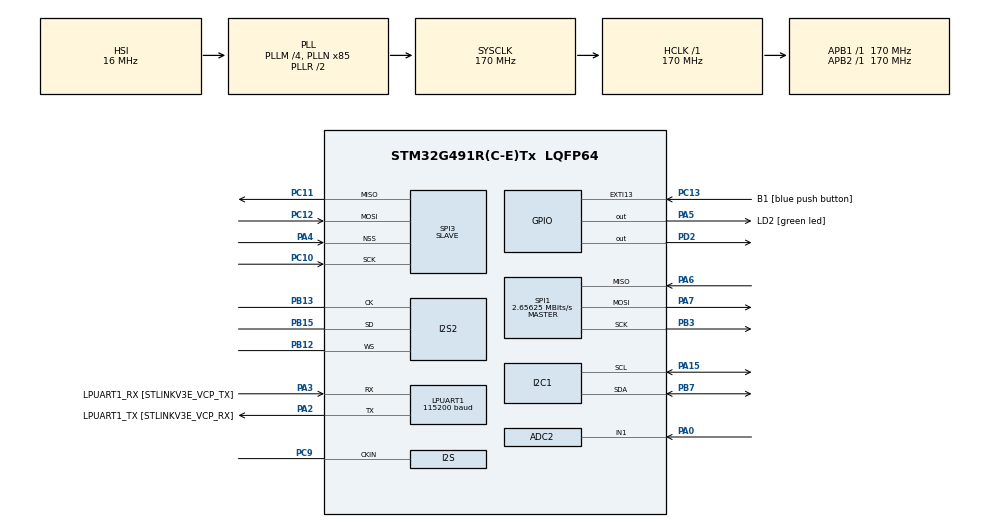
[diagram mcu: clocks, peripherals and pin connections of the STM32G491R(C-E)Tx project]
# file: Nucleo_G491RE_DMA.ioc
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ADC2.Channel-0\#ChannelRegularConversion=ADC_CHANNEL_1
ADC2.NbrOfConversionFlag=1
ADC2.OffsetNumber-0\#ChannelRegularConversion=ADC_OFFSET_NONE
ADC2.Rank-0\#ChannelRegularConversion=1
ADC2.SamplingTime-0\#ChannelRegularConversion=ADC_SAMPLETIME_2CYCLES_5
Dma.I2C1_RX.3.Direction=DMA_PERIPH_TO_MEMORY
Dma.I2C1_RX.3.EventEnable=DISABLE
Dma.I2C1_RX.3.Instance=DMA1_Channel2
Dma.I2C1_RX.3.MemDataAlignment=DMA_MDATAALIGN_BYTE
Dma.I2C1_RX.3.MemInc=DMA_MINC_ENABLE
Dma.I2C1_RX.3.Mode=DMA_NORMAL
Dma.I2C1_RX.3.PeriphDataAlignment=DMA_PDATAALIGN_BYTE
Dma.I2C1_RX.3.PeriphInc=DMA_PINC_DISABLE
Dma.I2C1_RX.3.Polarity=HAL_DMAMUX_REQ_GEN_RISING
Dma.I2C1_RX.3.Priority=DMA_PRIORITY_LOW
Dma.I2C1_RX.3.RequestNumber=1
Dma.I2C1_RX.3.SignalID=NONE
Dma.I2C1_RX.3.SyncEnable=DISABLE
Dma.I2C1_RX.3.SyncPolarity=HAL_DMAMUX_SYNC_NO_EVENT
Dma.I2C1_RX.3.SyncRequestNumber=1
Dma.I2C1_RX.3.SyncSignalID=NONE
Dma.I2C1_TX.4.Direction=DMA_MEMORY_TO_PERIPH
Dma.I2C1_TX.4.EventEnable=DISABLE
Dma.I2C1_TX.4.Instance=DMA1_Channel3
Dma.I2C1_TX.4.MemDataAlignment=DMA_MDATAALIGN_BYTE
Dma.I2C1_TX.4.MemInc=DMA_MINC_ENABLE
Dma.I2C1_TX.4.Mode=DMA_NORMAL
Dma.I2C1_TX.4.PeriphDataAlignment=DMA_PDATAALIGN_BYTE
Dma.I2C1_TX.4.PeriphInc=DMA_PINC_DISABLE
Dma.I2C1_TX.4.Polarity=HAL_DMAMUX_REQ_GEN_RISING
Dma.I2C1_TX.4.Priority=DMA_PRIORITY_LOW
Dma.I2C1_TX.4.RequestNumber=1
Dma.I2C1_TX.4.SignalID=NONE
Dma.I2C1_TX.4.SyncEnable=DISABLE
Dma.I2C1_TX.4.SyncPolarity=HAL_DMAMUX_SYNC_NO_EVENT
Dma.I2C1_TX.4.SyncRequestNumber=1
Dma.I2C1_TX.4.SyncSignalID=NONE
Dma.LPUART1_TX.7.Direction=DMA_MEMORY_TO_PERIPH
Dma.LPUART1_TX.7.EventEnable=DISABLE
Dma.LPUART1_TX.7.Instance=DMA1_Channel6
Dma.LPUART1_TX.7.MemDataAlignment=DMA_MDATAALIGN_BYTE
Dma.LPUART1_TX.7.MemInc=DMA_MINC_ENABLE
Dma.LPUART1_TX.7.Mode=DMA_NORMAL
Dma.LPUART1_TX.7.PeriphDataAlignment=DMA_PDATAALIGN_BYTE
Dma.LPUART1_TX.7.PeriphInc=DMA_PINC_DISABLE
Dma.LPUART1_TX.7.Polarity=HAL_DMAMUX_REQ_GEN_RISING
Dma.LPUART1_TX.7.Priority=DMA_PRIORITY_LOW
Dma.LPUART1_TX.7.RequestNumber=1
Dma.LPUART1_TX.7.SignalID=NONE
Dma.LPUART1_TX.7.SyncEnable=DISABLE
Dma.LPUART1_TX.7.SyncPolarity=HAL_DMAMUX_SYNC_NO_EVENT
Dma.LPUART1_TX.7.SyncRequestNumber=1
Dma.LPUART1_TX.7.SyncSignalID=NONE
Dma.Request0=SPI3_RX
Dma.Request1=SPI3_TX
Dma.Request2=SPI2_RX
Dma.Request3=I2C1_RX
Dma.Request4=I2C1_TX
Dma.Request5=SPI1_RX
Dma.Request6=SPI1_TX
Dma.Request7=LPUART1_TX
Dma.SPI1_RX.5.Direction=DMA_PERIPH_TO_MEMORY
Dma.SPI1_RX.5.EventEnable=DISABLE
Dma.SPI1_RX.5.Instance=DMA1_Channel4
Dma.SPI1_RX.5.MemDataAlignment=DMA_MDATAALIGN_BYTE
Dma.SPI1_RX.5.MemInc=DMA_MINC_ENABLE
Dma.SPI1_RX.5.Mode=DMA_NORMAL
Dma.SPI1_RX.5.PeriphDataAlignment=DMA_PDATAALIGN_BYTE
Dma.SPI1_RX.5.PeriphInc=DMA_PINC_DISABLE
Dma.SPI1_RX.5.Polarity=HAL_DMAMUX_REQ_GEN_RISING
Dma.SPI1_RX.5.Priority=DMA_PRIORITY_VERY_HIGH
Dma.SPI1_RX.5.RequestNumber=1
Dma.SPI1_RX.5.SignalID=NONE
Dma.SPI1_RX.5.SyncEnable=DISABLE
Dma.SPI1_RX.5.SyncPolarity=HAL_DMAMUX_SYNC_NO_EVENT
Dma.SPI1_RX.5.SyncRequestNumber=1
Dma.SPI1_RX.5.SyncSignalID=NONE
Dma.SPI1_TX.6.Direction=DMA_MEMORY_TO_PERIPH
Dma.SPI1_TX.6.EventEnable=DISABLE
Dma.SPI1_TX.6.Instance=DMA1_Channel5
Dma.SPI1_TX.6.MemDataAlignment=DMA_MDATAALIGN_BYTE
Dma.SPI1_TX.6.MemInc=DMA_MINC_ENABLE
Dma.SPI1_TX.6.Mode=DMA_NORMAL
Dma.SPI1_TX.6.PeriphDataAlignment=DMA_PDATAALIGN_BYTE
Dma.SPI1_TX.6.PeriphInc=DMA_PINC_DISABLE
Dma.SPI1_TX.6.Polarity=HAL_DMAMUX_REQ_GEN_RISING
Dma.SPI1_TX.6.Priority=DMA_PRIORITY_VERY_HIGH
Dma.SPI1_TX.6.RequestNumber=1
Dma.SPI1_TX.6.SignalID=NONE
Dma.SPI1_TX.6.SyncEnable=DISABLE
Dma.SPI1_TX.6.SyncPolarity=HAL_DMAMUX_SYNC_NO_EVENT
Dma.SPI1_TX.6.SyncRequestNumber=1
Dma.SPI1_TX.6.SyncSignalID=NONE
Dma.SPI2_RX.2.Direction=DMA_PERIPH_TO_MEMORY
Dma.SPI2_RX.2.EventEnable=DISABLE
Dma.SPI2_RX.2.Instance=DMA1_Channel1
Dma.SPI2_RX.2.MemDataAlignment=DMA_MDATAALIGN_HALFWORD
Dma.SPI2_RX.2.MemInc=DMA_MINC_ENABLE
Dma.SPI2_RX.2.Mode=DMA_NORMAL
Dma.SPI2_RX.2.PeriphDataAlignment=DMA_PDATAALIGN_WORD
Dma.SPI2_RX.2.PeriphInc=DMA_PINC_DISABLE
Dma.SPI2_RX.2.Polarity=HAL_DMAMUX_REQ_GEN_RISING
Dma.SPI2_RX.2.Priority=DMA_PRIORITY_LOW
Dma.SPI2_RX.2.RequestNumber=1
Dma.SPI2_RX.2.SignalID=NONE
Dma.SPI2_RX.2.SyncEnable=DISABLE
Dma.SPI2_RX.2.SyncPolarity=HAL_DMAMUX_SYNC_NO_EVENT
Dma.SPI2_RX.2.SyncRequestNumber=1
Dma.SPI2_RX.2.SyncSignalID=NONE
Dma.SPI3_RX.0.Direction=DMA_PERIPH_TO_MEMORY
Dma.SPI3_RX.0.EventEnable=DISABLE
Dma.SPI3_RX.0.Instance=DMA2_Channel1
Dma.SPI3_RX.0.MemDataAlignment=DMA_MDATAALIGN_BYTE
Dma.SPI3_RX.0.MemInc=DMA_MINC_ENABLE
Dma.SPI3_RX.0.Mode=DMA_NORMAL
Dma.SPI3_RX.0.PeriphDataAlignment=DMA_PDATAALIGN_BYTE
Dma.SPI3_RX.0.PeriphInc=DMA_PINC_DISABLE
Dma.SPI3_RX.0.Polarity=HAL_DMAMUX_REQ_GEN_RISING
Dma.SPI3_RX.0.Priority=DMA_PRIORITY_MEDIUM
Dma.SPI3_RX.0.RequestNumber=1
Dma.SPI3_RX.0.SignalID=NONE
Dma.SPI3_RX.0.SyncEnable=DISABLE
Dma.SPI3_RX.0.SyncPolarity=HAL_DMAMUX_SYNC_NO_EVENT
Dma.SPI3_RX.0.SyncRequestNumber=1
Dma.SPI3_RX.0.SyncSignalID=NONE
Dma.SPI3_TX.1.Direction=DMA_MEMORY_TO_PERIPH
Dma.SPI3_TX.1.EventEnable=DISABLE
Dma.SPI3_TX.1.Instance=DMA2_Channel2
Dma.SPI3_TX.1.MemDataAlignment=DMA_MDATAALIGN_BYTE
Dma.SPI3_TX.1.MemInc=DMA_MINC_ENABLE
Dma.SPI3_TX.1.Mode=DMA_NORMAL
Dma.SPI3_TX.1.PeriphDataAlignment=DMA_PDATAALIGN_BYTE
Dma.SPI3_TX.1.PeriphInc=DMA_PINC_DISABLE
Dma.SPI3_TX.1.Polarity=HAL_DMAMUX_REQ_GEN_RISING
Dma.SPI3_TX.1.Priority=DMA_PRIORITY_MEDIUM
Dma.SPI3_TX.1.RequestNumber=1
Dma.SPI3_TX.1.SignalID=NONE
Dma.SPI3_TX.1.SyncEnable=DISABLE
Dma.SPI3_TX.1.SyncPolarity=HAL_DMAMUX_SYNC_NO_EVENT
Dma.SPI3_TX.1.SyncRequestNumber=1
Dma.SPI3_TX.1.SyncSignalID=NONE
FREERTOS.Tasks01=ADCTask,0,128,StartADCTask,Default,NULL,Dynamic,NULL,NULL
I2C1.Timing=0x30A0A7FB
I2S2.AudioFreq=AudioFreqCustomValue
I2S2.AudioFreqCustom=64000
I2S2.DataFormat=I2S_DATAFORMAT_24B
I2S2.ErrorAudioFreq=-2.34 %
I2S2.FullDuplexMode=I2S_FULLDUPLEXMODE_DISABLE
I2S2.Instance=SPI$Index
I2S2.Mode=I2S_MODE_MASTER_RX
I2S2.RealAudioFreq=62.5 KHz
I2S2.VirtualMode=I2S_MODE_MASTER
LPUART1.BaudRate=115200
LPUART1.WordLength=UART_WORDLENGTH_8B
Mcu.Family=STM32G4
Mcu.Name=STM32G491R(C-E)Tx
Mcu.Package=LQFP64
NVIC.DMA1_Channel1_IRQn=true\:5\:0\:false\:false\:true\:true\:false\:true
NVIC.DMA1_Channel2_IRQn=true\:5\:0\:false\:false\:true\:true\:false\:true
NVIC.DMA1_Channel3_IRQn=true\:5\:0\:false\:false\:true\:true\:false\:true
NVIC.DMA1_Channel4_IRQn=true\:5\:0\:false\:false\:true\:true\:false\:true
NVIC.DMA1_Channel5_IRQn=true\:5\:0\:false\:false\:true\:true\:false\:true
NVIC.DMA1_Channel6_IRQn=true\:5\:0\:false\:false\:true\:true\:false\:true
NVIC.DMA2_Channel1_IRQn=true\:0\:0\:false\:false\:true\:false\:false\:true
NVIC.DMA2_Channel2_IRQn=true\:0\:0\:false\:false\:true\:false\:false\:true
NVIC.EXTI15_10_IRQn=true\:5\:0\:false\:false\:true\:true\:true\:true
NVIC.I2C1_EV_IRQn=true\:5\:0\:false\:false\:true\:true\:true\:true
NVIC.LPUART1_IRQn=true\:5\:0\:false\:false\:true\:true\:true\:true
NVIC.PriorityGroup=NVIC_PRIORITYGROUP_4
NVIC.TIM1_UP_TIM16_IRQn=true\:0\:0\:false\:false\:true\:false\:false\:true
NVIC.TimeBase=TIM1_UP_TIM16_IRQn
NVIC.TimeBaseIP=TIM1
PA0.Mode=IN1-Single-Ended
PA0.Signal=ADC2_IN1
PA13.GPIO_Label=T_SWDIO
PA13.Mode=Serial_Wire
PA13.Signal=SYS_JTMS-SWDIO
PA14.GPIO_Label=T_SWCLK
PA14.Mode=Serial_Wire
PA14.Signal=SYS_JTCK-SWCLK
PA15.Mode=I2C
PA15.Signal=I2C1_SCL
PA2.GPIO_Label=LPUART1_TX [STLINKV3E_VCP_RX]
PA2.Mode=Asynchronous
PA2.Signal=LPUART1_TX
PA3.GPIO_Label=LPUART1_RX [STLINKV3E_VCP_TX]
PA3.Mode=Asynchronous
PA3.Signal=LPUART1_RX
PA4.Mode=NSS_Signal_Hard_Input
PA4.Signal=SPI3_NSS
PA5.GPIO_Label=LD2 [green led]
PA5.Signal=GPIO_Output
PA6.Mode=Full_Duplex_Master
PA6.Signal=SPI1_MISO
PA7.Mode=Full_Duplex_Master
PA7.Signal=SPI1_MOSI
PB12.Mode=Half_Duplex_Master
PB12.Signal=I2S2_WS
PB13.Mode=Half_Duplex_Master
PB13.Signal=I2S2_CK
PB15.Mode=Half_Duplex_Master
PB15.Signal=I2S2_SD
PB3.Mode=Full_Duplex_Master
PB3.Signal=SPI1_SCK
PB7.Mode=I2C
PB7.Signal=I2C1_SDA
PC10.Mode=Full_Duplex_Slave
PC10.Signal=SPI3_SCK
PC11.Mode=Full_Duplex_Slave
PC11.Signal=SPI3_MISO
PC12.Mode=Full_Duplex_Slave
PC12.Signal=SPI3_MOSI
PC13.GPIO_Label=B1 [blue push button]
PC13.Signal=GPXTI13
PC14-OSC32_IN.Mode=LSE-External-Oscillator
PC14-OSC32_IN.Signal=RCC_OSC32_IN
PC15-OSC32_OUT.Mode=LSE-External-Oscillator
PC15-OSC32_OUT.Signal=RCC_OSC32_OUT
PC9.Mode=Audio_ClockIn
PC9.Signal=I2S_CKIN
PD2.Signal=GPIO_Output
PF0-OSC_IN.Mode=HSE-External-Oscillator
PF0-OSC_IN.Signal=RCC_OSC_IN
PF1-OSC_OUT.Mode=HSE-External-Oscillator
PF1-OSC_OUT.Signal=RCC_OSC_OUT
ProjectManager.HeapSize=0x200
ProjectManager.StackSize=0x400
ProjectManager.TargetToolchain=STM32CubeIDE
RCC.ADC12Freq_Value=170000000
RCC.ADC345Freq_Value=170000000
RCC.AHBFreq_Value=170000000
RCC.APB1Freq_Value=170000000
RCC.APB1TimFreq_Value=170000000
RCC.APB2Freq_Value=170000000
RCC.APB2TimFreq_Value=170000000
RCC.CortexFreq_Value=170000000
RCC.EXTERNAL_CLOCK_VALUE=16384000
RCC.HCLKFreq_Value=170000000
RCC.HSE_VALUE=24000000
RCC.HSI48_VALUE=48000000
RCC.HSI_VALUE=16000000
RCC.I2SCLockSelection=RCC_I2SCLKSOURCE_HSI
RCC.PLLM=RCC_PLLM_DIV4
RCC.PLLN=85
RCC.RTCClockSelection=RCC_RTCCLKSOURCE_LSE
RCC.SYSCLKFreq_VALUE=170000000
RCC.SYSCLKSource=RCC_SYSCLKSOURCE_PLLCLK
RCC.USBFreq_Value=48000000
RCC.VCOOutputFreq_Value=340000000
SPI1.BaudRatePrescaler=SPI_BAUDRATEPRESCALER_64
SPI1.CalculateBaudRate=2.65625 MBits/s
SPI1.Direction=SPI_DIRECTION_2LINES
SPI1.Mode=SPI_MODE_MASTER
SPI1.VirtualType=VM_MASTER
SPI3.Direction=SPI_DIRECTION_2LINES
SPI3.Mode=SPI_MODE_SLAVE
SPI3.VirtualNSS=VM_NSSHARD
SPI3.VirtualType=VM_SLAVE
VP_FREERTOS_VS_CMSIS_V1.Mode=CMSIS_V1
VP_SYS_VS_DBSignals.Mode=DisableDeadBatterySignals
VP_SYS_VS_tim1.Mode=TIM1
board=NUCLEO-G491RE

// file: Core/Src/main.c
/* USER CODE BEGIN Header */
/**
  ******************************************************************************
  * @file           : main.c
  * @brief          : Main program body
  ******************************************************************************
  * @attention
  *
  * <h2><center>&copy; Copyright (c) 2022 STMicroelectronics.
  * All rights reserved.</center></h2>
  *
  * This software component is licensed by ST under BSD 3-Clause license,
  * the "License"; You may not use this file except in compliance with the
  * License. You may obtain a copy of the License at:
  *                        opensource.org/licenses/BSD-3-Clause
  *
  ******************************************************************************
  */
/* USER CODE END Header */
#include "main.h"
#include "cmsis_os.h"

/* USER CODE BEGIN Includes */
#include "sensor.h"
/* USER CODE END Includes */

/* USER CODE BEGIN PD */
  #define READ_COMMAND 0x12
/* USER CODE END PD */

ADC_HandleTypeDef hadc2;

I2C_HandleTypeDef hi2c1;
DMA_HandleTypeDef hdma_i2c1_rx;
DMA_HandleTypeDef hdma_i2c1_tx;

I2S_HandleTypeDef hi2s2;
DMA_HandleTypeDef hdma_spi2_rx;

UART_HandleTypeDef hlpuart1;
DMA_HandleTypeDef hdma_lpuart1_tx;

SPI_HandleTypeDef hspi1;
SPI_HandleTypeDef hspi3;
DMA_HandleTypeDef hdma_spi1_rx;
DMA_HandleTypeDef hdma_spi1_tx;
DMA_HandleTypeDef hdma_spi3_rx;
DMA_HandleTypeDef hdma_spi3_tx;

osThreadId ADCTaskHandle;

void SystemClock_Config(void);
static void MX_GPIO_Init(void);
static void MX_DMA_Init(void);
static void MX_LPUART1_UART_Init(void);
static void MX_SPI3_Init(void);
static void MX_I2S2_Init(void);
static void MX_I2C1_Init(void);
static void MX_ADC2_Init(void);
static void MX_SPI1_Init(void);
void StartADCTask(void const * argument);

/* USER CODE BEGIN PFP */
void mpuWrite(uint8_t, uint8_t);
void mpuRead(uint8_t *address, uint8_t *value);
void imu_init();
void acc_update();
void gyro_update();
void adc_init();
void adc_update();
void ps_init();
void ps_update();
void txbuff_update();
void *memset();
int sprintf();
/* USER CODE END PFP */

/* USER CODE BEGIN 0 */
#define BUFF_SIZE 1024
int32_t I2S_RX_BUFFER[BUFF_SIZE];
int32_t buff_sifted[BUFF_SIZE];
int32_t buff_sifted_mirror[BUFF_SIZE];
uint8_t buffer[1024];
uint8_t rxbuff[1];
uint8_t txbuff[44];
/* USER CODE END 0 */

int main(void)
{

  /* MCU Configuration--------------------------------------------------------*/

  /* Reset of all peripherals, Initializes the Flash interface and the Systick. */
  HAL_Init();

  /* Configure the system clock */
  SystemClock_Config();

  /* Initialize all configured peripherals */
  MX_GPIO_Init();
  MX_DMA_Init();
  MX_LPUART1_UART_Init();
  MX_SPI3_Init();
  MX_I2S2_Init();
  MX_I2C1_Init();
  MX_ADC2_Init();
  MX_SPI1_Init();
  /* USER CODE BEGIN 2 */
  // Start receiving I2S microphone data
  // HAL_I2S_RxCpltCallback() is called at the end of HAL_I2S_Receive_DMA,
  // so HAL_I2S_RxCpltCallback() is executed continuously.
  HAL_Delay(100); // After using MX_GPIO_Init(), HAL_Delay() is needed.
  HAL_I2S_Receive_DMA( &hi2s2, (uint16_t*)&sp.i2s_rx_buff, BUFF_SIZE);
  // Initialize and Start proximity sensor
  HAL_Delay(100);
  ps_init(&hi2c1);
  HAL_Delay(100);
  ps_update(&hi2c1);
  // Initialize adc
  adc_init(&hadc2);
  // Initialize IMU
  HAL_Delay(100);
  sp.imu_select = SELECT_ICM_42688_SPI;
  imu_init(&hspi1);
  // acc_update internally calls gyro_update
  // gyro_update internally calls acc_update
  HAL_Delay(100);
  acc_update(&hspi1);
  // Start sending sensor data via UART
  // HAL_Delay(100);
  // HAL_UART_Transmit_DMA(&hlpuart1, debug_buffer, 2048);
  // Start SPI slave with PR2
  // HAL_SPI_Receive_DMA should be called at last(?)
  HAL_Delay(100);
  HAL_SPI_Receive_DMA( &hspi3, rxbuff, sizeof(rxbuff));
  /* USER CODE END 2 */

  /* Create the thread(s) */
  /* definition and creation of ADCTask */
  osThreadDef(ADCTask, StartADCTask, osPriorityNormal, 0, 128);
  ADCTaskHandle = osThreadCreate(osThread(ADCTask), NULL);

  /* Start scheduler */
  osKernelStart();

  /* We should never get here as control is now taken by the scheduler */
  /* Infinite loop */
  while (1)
  {

  }
}

void SystemClock_Config(void)
{
  RCC_OscInitTypeDef RCC_OscInitStruct = {0};
  RCC_ClkInitTypeDef RCC_ClkInitStruct = {0};
  RCC_PeriphCLKInitTypeDef PeriphClkInit = {0};

  /** Configure the main internal regulator output voltage
  */
  HAL_PWREx_ControlVoltageScaling(PWR_REGULATOR_VOLTAGE_SCALE1_BOOST);
  /** Initializes the RCC Oscillators according to the specified parameters
  * in the RCC_OscInitTypeDef structure.
  */
  RCC_OscInitStruct.OscillatorType = RCC_OSCILLATORTYPE_HSI;
  RCC_OscInitStruct.HSIState = RCC_HSI_ON;
  RCC_OscInitStruct.HSICalibrationValue = RCC_HSICALIBRATION_DEFAULT;
  RCC_OscInitStruct.PLL.PLLState = RCC_PLL_ON;
  RCC_OscInitStruct.PLL.PLLSource = RCC_PLLSOURCE_HSI;
  RCC_OscInitStruct.PLL.PLLM = RCC_PLLM_DIV4;
  RCC_OscInitStruct.PLL.PLLN = 85;
  RCC_OscInitStruct.PLL.PLLP = RCC_PLLP_DIV2;
  RCC_OscInitStruct.PLL.PLLQ = RCC_PLLQ_DIV2;
  RCC_OscInitStruct.PLL.PLLR = RCC_PLLR_DIV2;
  if (HAL_RCC_OscConfig(&RCC_OscInitStruct) != HAL_OK)
  {
    Error_Handler();
  }
  /** Initializes the CPU, AHB and APB buses clocks
  */
  RCC_ClkInitStruct.ClockType = RCC_CLOCKTYPE_HCLK|RCC_CLOCKTYPE_SYSCLK
                              |RCC_CLOCKTYPE_PCLK1|RCC_CLOCKTYPE_PCLK2;
  RCC_ClkInitStruct.SYSCLKSource = RCC_SYSCLKSOURCE_PLLCLK;
  RCC_ClkInitStruct.AHBCLKDivider = RCC_SYSCLK_DIV1;
  RCC_ClkInitStruct.APB1CLKDivider = RCC_HCLK_DIV1;
  RCC_ClkInitStruct.APB2CLKDivider = RCC_HCLK_DIV1;

  if (HAL_RCC_ClockConfig(&RCC_ClkInitStruct, FLASH_LATENCY_4) != HAL_OK)
  {
    Error_Handler();
  }
  /** Initializes the peripherals clocks
  */
  PeriphClkInit.PeriphClockSelection = RCC_PERIPHCLK_LPUART1|RCC_PERIPHCLK_I2C1
                              |RCC_PERIPHCLK_I2S|RCC_PERIPHCLK_ADC12;
  PeriphClkInit.Lpuart1ClockSelection = RCC_LPUART1CLKSOURCE_PCLK1;
  PeriphClkInit.I2c1ClockSelection = RCC_I2C1CLKSOURCE_PCLK1;
  PeriphClkInit.I2sClockSelection = RCC_I2SCLKSOURCE_HSI;
  PeriphClkInit.Adc12ClockSelection = RCC_ADC12CLKSOURCE_SYSCLK;
  if (HAL_RCCEx_PeriphCLKConfig(&PeriphClkInit) != HAL_OK)
  {
    Error_Handler();
  }
}

static void MX_ADC2_Init(void)
{

  ADC_ChannelConfTypeDef sConfig = {0};

  /** Common config
  */
  hadc2.Instance = ADC2;
  hadc2.Init.ClockPrescaler = ADC_CLOCK_SYNC_PCLK_DIV4;
  hadc2.Init.Resolution = ADC_RESOLUTION_12B;
  hadc2.Init.DataAlign = ADC_DATAALIGN_RIGHT;
  hadc2.Init.GainCompensation = 0;
  hadc2.Init.ScanConvMode = ADC_SCAN_DISABLE;
  hadc2.Init.EOCSelection = ADC_EOC_SINGLE_CONV;
  hadc2.Init.LowPowerAutoWait = DISABLE;
  hadc2.Init.ContinuousConvMode = DISABLE;
  hadc2.Init.NbrOfConversion = 1;
  hadc2.Init.DiscontinuousConvMode = DISABLE;
  hadc2.Init.ExternalTrigConv = ADC_SOFTWARE_START;
  hadc2.Init.ExternalTrigConvEdge = ADC_EXTERNALTRIGCONVEDGE_NONE;
  hadc2.Init.DMAContinuousRequests = DISABLE;
  hadc2.Init.Overrun = ADC_OVR_DATA_PRESERVED;
  hadc2.Init.OversamplingMode = DISABLE;
  if (HAL_ADC_Init(&hadc2) != HAL_OK)
  {
    Error_Handler();
  }
  /** Configure Regular Channel
  */
  sConfig.Channel = ADC_CHANNEL_1;
  sConfig.Rank = ADC_REGULAR_RANK_1;
  sConfig.SamplingTime = ADC_SAMPLETIME_2CYCLES_5;
  sConfig.SingleDiff = ADC_SINGLE_ENDED;
  sConfig.OffsetNumber = ADC_OFFSET_NONE;
  sConfig.Offset = 0;
  if (HAL_ADC_ConfigChannel(&hadc2, &sConfig) != HAL_OK)
  {
    Error_Handler();
  }

}

static void MX_I2C1_Init(void)
{

  hi2c1.Instance = I2C1;
  hi2c1.Init.Timing = 0x30A0A7FB;
  hi2c1.Init.OwnAddress1 = 0;
  hi2c1.Init.AddressingMode = I2C_ADDRESSINGMODE_7BIT;
  hi2c1.Init.DualAddressMode = I2C_DUALADDRESS_DISABLE;
  hi2c1.Init.OwnAddress2 = 0;
  hi2c1.Init.OwnAddress2Masks = I2C_OA2_NOMASK;
  hi2c1.Init.GeneralCallMode = I2C_GENERALCALL_DISABLE;
  hi2c1.Init.NoStretchMode = I2C_NOSTRETCH_DISABLE;
  if (HAL_I2C_Init(&hi2c1) != HAL_OK)
  {
    Error_Handler();
  }
  /** Configure Analogue filter
  */
  if (HAL_I2CEx_ConfigAnalogFilter(&hi2c1, I2C_ANALOGFILTER_ENABLE) != HAL_OK)
  {
    Error_Handler();
  }
  /** Configure Digital filter
  */
  if (HAL_I2CEx_ConfigDigitalFilter(&hi2c1, 0) != HAL_OK)
  {
    Error_Handler();
  }

}

static void MX_I2S2_Init(void)
{

  hi2s2.Instance = SPI2;
  hi2s2.Init.Mode = I2S_MODE_MASTER_RX;
  hi2s2.Init.Standard = I2S_STANDARD_PHILIPS;
  hi2s2.Init.DataFormat = I2S_DATAFORMAT_24B;
  hi2s2.Init.MCLKOutput = I2S_MCLKOUTPUT_DISABLE;
  hi2s2.Init.AudioFreq = 64000;
  hi2s2.Init.CPOL = I2S_CPOL_LOW;
  if (HAL_I2S_Init(&hi2s2) != HAL_OK)
  {
    Error_Handler();
  }

}

static void MX_LPUART1_UART_Init(void)
{

  hlpuart1.Instance = LPUART1;
  hlpuart1.Init.BaudRate = 115200;
  hlpuart1.Init.WordLength = UART_WORDLENGTH_8B;
  hlpuart1.Init.StopBits = UART_STOPBITS_1;
  hlpuart1.Init.Parity = UART_PARITY_NONE;
  hlpuart1.Init.Mode = UART_MODE_TX_RX;
  hlpuart1.Init.HwFlowCtl = UART_HWCONTROL_NONE;
  hlpuart1.Init.OneBitSampling = UART_ONE_BIT_SAMPLE_DISABLE;
  hlpuart1.Init.ClockPrescaler = UART_PRESCALER_DIV1;
  hlpuart1.AdvancedInit.AdvFeatureInit = UART_ADVFEATURE_NO_INIT;
  if (HAL_UART_Init(&hlpuart1) != HAL_OK)
  {
    Error_Handler();
  }
  if (HAL_UARTEx_SetTxFifoThreshold(&hlpuart1, UART_TXFIFO_THRESHOLD_1_8) != HAL_OK)
  {
    Error_Handler();
  }
  if (HAL_UARTEx_SetRxFifoThreshold(&hlpuart1, UART_RXFIFO_THRESHOLD_1_8) != HAL_OK)
  {
    Error_Handler();
  }
  if (HAL_UARTEx_DisableFifoMode(&hlpuart1) != HAL_OK)
  {
    Error_Handler();
  }

}

static void MX_SPI1_Init(void)
{

  /* SPI1 parameter configuration*/
  hspi1.Instance = SPI1;
  hspi1.Init.Mode = SPI_MODE_MASTER;
  hspi1.Init.Direction = SPI_DIRECTION_2LINES;
  hspi1.Init.DataSize = SPI_DATASIZE_8BIT;
  hspi1.Init.CLKPolarity = SPI_POLARITY_LOW;
  hspi1.Init.CLKPhase = SPI_PHASE_1EDGE;
  hspi1.Init.NSS = SPI_NSS_SOFT;
  hspi1.Init.BaudRatePrescaler = SPI_BAUDRATEPRESCALER_64;
  hspi1.Init.FirstBit = SPI_FIRSTBIT_MSB;
  hspi1.Init.TIMode = SPI_TIMODE_DISABLE;
  hspi1.Init.CRCCalculation = SPI_CRCCALCULATION_DISABLE;
  hspi1.Init.CRCPolynomial = 7;
  hspi1.Init.CRCLength = SPI_CRC_LENGTH_DATASIZE;
  hspi1.Init.NSSPMode = SPI_NSS_PULSE_ENABLE;
  if (HAL_SPI_Init(&hspi1) != HAL_OK)
  {
    Error_Handler();
  }

}

static void MX_SPI3_Init(void)
{

  /* SPI3 parameter configuration*/
  hspi3.Instance = SPI3;
  hspi3.Init.Mode = SPI_MODE_SLAVE;
  hspi3.Init.Direction = SPI_DIRECTION_2LINES;
  hspi3.Init.DataSize = SPI_DATASIZE_8BIT;
  hspi3.Init.CLKPolarity = SPI_POLARITY_LOW;
  hspi3.Init.CLKPhase = SPI_PHASE_1EDGE;
  hspi3.Init.NSS = SPI_NSS_HARD_INPUT;
  hspi3.Init.FirstBit = SPI_FIRSTBIT_MSB;
  hspi3.Init.TIMode = SPI_TIMODE_DISABLE;
  hspi3.Init.CRCCalculation = SPI_CRCCALCULATION_DISABLE;
  hspi3.Init.CRCPolynomial = 7;
  hspi3.Init.CRCLength = SPI_CRC_LENGTH_DATASIZE;
  hspi3.Init.NSSPMode = SPI_NSS_PULSE_DISABLE;
  if (HAL_SPI_Init(&hspi3) != HAL_OK)
  {
    Error_Handler();
  }

}

static void MX_DMA_Init(void)
{

  /* DMA controller clock enable */
  __HAL_RCC_DMAMUX1_CLK_ENABLE();
  __HAL_RCC_DMA2_CLK_ENABLE();
  __HAL_RCC_DMA1_CLK_ENABLE();

  /* DMA interrupt init */
  /* DMA1_Channel1_IRQn interrupt configuration */
  HAL_NVIC_SetPriority(DMA1_Channel1_IRQn, 5, 0);
  HAL_NVIC_EnableIRQ(DMA1_Channel1_IRQn);
  /* DMA1_Channel2_IRQn interrupt configuration */
  HAL_NVIC_SetPriority(DMA1_Channel2_IRQn, 5, 0);
  HAL_NVIC_EnableIRQ(DMA1_Channel2_IRQn);
  /* DMA1_Channel3_IRQn interrupt configuration */
  HAL_NVIC_SetPriority(DMA1_Channel3_IRQn, 5, 0);
  HAL_NVIC_EnableIRQ(DMA1_Channel3_IRQn);
  /* DMA1_Channel4_IRQn interrupt configuration */
  HAL_NVIC_SetPriority(DMA1_Channel4_IRQn, 5, 0);
  HAL_NVIC_EnableIRQ(DMA1_Channel4_IRQn);
  /* DMA1_Channel5_IRQn interrupt configuration */
  HAL_NVIC_SetPriority(DMA1_Channel5_IRQn, 5, 0);
  HAL_NVIC_EnableIRQ(DMA1_Channel5_IRQn);
  /* DMA1_Channel6_IRQn interrupt configuration */
  HAL_NVIC_SetPriority(DMA1_Channel6_IRQn, 5, 0);
  HAL_NVIC_EnableIRQ(DMA1_Channel6_IRQn);
  /* DMA2_Channel1_IRQn interrupt configuration */
  HAL_NVIC_SetPriority(DMA2_Channel1_IRQn, 0, 0);
  HAL_NVIC_EnableIRQ(DMA2_Channel1_IRQn);
  /* DMA2_Channel2_IRQn interrupt configuration */
  HAL_NVIC_SetPriority(DMA2_Channel2_IRQn, 0, 0);
  HAL_NVIC_EnableIRQ(DMA2_Channel2_IRQn);

}

static void MX_GPIO_Init(void)
{
  GPIO_InitTypeDef GPIO_InitStruct = {0};

  /* GPIO Ports Clock Enable */
  __HAL_RCC_GPIOC_CLK_ENABLE();
  __HAL_RCC_GPIOF_CLK_ENABLE();
  __HAL_RCC_GPIOA_CLK_ENABLE();
  __HAL_RCC_GPIOB_CLK_ENABLE();
  __HAL_RCC_GPIOD_CLK_ENABLE();

  /*Configure GPIO pin Output Level */
  HAL_GPIO_WritePin(LD2_GPIO_Port, LD2_Pin, GPIO_PIN_RESET);

  /*Configure GPIO pin Output Level */
  HAL_GPIO_WritePin(GPIOD, GPIO_PIN_2, GPIO_PIN_RESET);

  /*Configure GPIO pin : B1_Pin */
  GPIO_InitStruct.Pin = B1_Pin;
  GPIO_InitStruct.Mode = GPIO_MODE_IT_RISING;
  GPIO_InitStruct.Pull = GPIO_NOPULL;
  HAL_GPIO_Init(B1_GPIO_Port, &GPIO_InitStruct);

  /*Configure GPIO pin : LD2_Pin */
  GPIO_InitStruct.Pin = LD2_Pin;
  GPIO_InitStruct.Mode = GPIO_MODE_OUTPUT_PP;
  GPIO_InitStruct.Pull = GPIO_NOPULL;
  GPIO_InitStruct.Speed = GPIO_SPEED_FREQ_LOW;
  HAL_GPIO_Init(LD2_GPIO_Port, &GPIO_InitStruct);

  /*Configure GPIO pin : PC9 */
  GPIO_InitStruct.Pin = GPIO_PIN_9;
  GPIO_InitStruct.Mode = GPIO_MODE_AF_PP;
  GPIO_InitStruct.Pull = GPIO_NOPULL;
  GPIO_InitStruct.Speed = GPIO_SPEED_FREQ_LOW;
  GPIO_InitStruct.Alternate = GPIO_AF5_I2S2ext;
  HAL_GPIO_Init(GPIOC, &GPIO_InitStruct);

  /*Configure GPIO pin : PD2 */
  GPIO_InitStruct.Pin = GPIO_PIN_2;
  GPIO_InitStruct.Mode = GPIO_MODE_OUTPUT_PP;
  GPIO_InitStruct.Pull = GPIO_NOPULL;
  GPIO_InitStruct.Speed = GPIO_SPEED_FREQ_LOW;
  HAL_GPIO_Init(GPIOD, &GPIO_InitStruct);

  /* EXTI interrupt init*/
  HAL_NVIC_SetPriority(EXTI15_10_IRQn, 5, 0);
  HAL_NVIC_EnableIRQ(EXTI15_10_IRQn);

}

/* USER CODE BEGIN 4 */
void HAL_I2S_RxCpltCallback(I2S_HandleTypeDef *hi2s) {
	  for(int i = 0; i < MIC_BUFF_SIZE; i++){
		  sp.i2s_buff_sifted[i] = sp.i2s_rx_buff[i] >> 14;
	  }

	// Send I2S data to serial monitor
    for(int i = 0; i < BUFF_SIZE; i++){
    	buff_sifted[i] = sp.i2s_rx_buff[i] >> 14;
    }
    // HAL_Delay(1) is magic number
    HAL_Delay(1);
    // Receive I2S data again
    HAL_I2S_Receive_DMA( hi2s, (uint16_t*)&sp.i2s_rx_buff, BUFF_SIZE);
}

void HAL_SPI_RxCpltCallback(SPI_HandleTypeDef *hspi) {
	// IMU
	if (hspi->Instance == SPI1) {
		HAL_Delay(1);
		if (acc_flag == 1) {
			HAL_GPIO_WritePin(IMU_CS_PORT, IMU_CS_PIN, GPIO_PIN_SET);
			if((sp.acc[0] != 0) || (sp.acc[1] != 0) || (sp.acc[2] != 0)){
				sp.acc_print[0] = (int16_t)(sp.acc[0] << 8 | sp.acc[1]);
				sp.acc_print[1] = (int16_t)(sp.acc[2] << 8 | sp.acc[3]);
				sp.acc_print[2] = (int16_t)(sp.acc[4] << 8 | sp.acc[5]);
			}
			acc_flag = 0;
			gyro_update(hspi);
		}
		else {
    		HAL_GPIO_WritePin(IMU_CS_PORT, IMU_CS_PIN, GPIO_PIN_SET);
    		if((sp.gyro[0] != 0) || (sp.gyro[1] != 0) || (sp.gyro[2] != 0)){
    			sp.gyro_print[0] = (int16_t)(sp.gyro[0] << 8 | sp.gyro[1]);
    			sp.gyro_print[1] = (int16_t)(sp.gyro[2] << 8 | sp.gyro[3]);
    			sp.gyro_print[2] = (int16_t)(sp.gyro[4] << 8 | sp.gyro[5]);
    		}
			acc_flag = 1;
			acc_update(hspi);
		}
	}
	// PR2 SPI slave
	else if (hspi->Instance == SPI3) {
		/*
        for(int i=0; i<20; i++){
        	txbuff[i*2] = (sp.i2s_buff_sifted[i] >> 10) & 0x000000ff;
        	txbuff[i*2+1] = (sp.i2s_buff_sifted[i] >> 2) & 0x000000ff;
        }
        txbuff[20*2] = ((int32_t)1000 >> 8) & 0x000000ff;
        txbuff[20*2+1] = ((int32_t)1000 >> 0) & 0x000000ff;
        txbuff[21*2] = ((int32_t)2000 >> 8) & 0x000000ff;
        txbuff[21*2+1] = ((int32_t)2000 >> 0) & 0x000000ff;
        if(rxbuff[0] == READ_COMMAND){
        	HAL_SPI_Transmit_DMA(hspi, txbuff, sizeof(txbuff));
    	}else{
	    	HAL_SPI_Receive_DMA(hspi, rxbuff, 1);
    	}
    	*/
        if(rxbuff[0] == READ_COMMAND){
        	txbuff_update();
        	HAL_SPI_Transmit_DMA(hspi, sp.txbuff, sizeof(sp.txbuff));
        }else{
        	HAL_SPI_Receive_DMA(hspi, rxbuff, 1);
        }
	}
}

void HAL_SPI_TxCpltCallback(SPI_HandleTypeDef *hspi) {
	// IMU
	if (hspi->Instance == SPI1) {
		// HAL_Delay(1);
		if (acc_flag == 1) {
        	HAL_SPI_Receive_DMA(hspi, sp.acc, 6);
		}
		else {
			HAL_SPI_Receive_DMA(hspi, sp.gyro, 6);
		}
	}
	// PR2 SPI slave
    else if (hspi->Instance == SPI3) {
    	// HAL_Delay(1) is magic number
	    HAL_SPI_Receive_DMA(hspi, rxbuff, 1);
	}
}

void HAL_UART_TxCpltCallback(UART_HandleTypeDef *huart) {
    sprintf(acc_buffer, "imu_en:%d acc[0]:%d acc[1]:%d acc[2]:%d\r\n",
    		sp.imu_en, sp.acc_print[0], sp.acc_print[1], sp.acc_print[2]);
	sprintf(gyro_buffer, "gyro[0]:%d gyro[1]:%d gyro[2]:%d\r\n",
			sp.gyro_print[0], sp.gyro_print[1], sp.gyro_print[2]);
	sprintf(adc_buffer, "adc[0]:%d adc[1]:%d adc[2]:%d adc[3]:%d\r\n",
			sp.adc_print[0], sp.adc_print[1], sp.adc_print[2], sp.adc_print[3]);
	sprintf(i2s_buffer, "i2s[0]:%d i2s[1]:%d i2s[2]:%d i2s[3]:%d\r\n",
			sp.i2s_buff_sifted[0], sp.i2s_buff_sifted[1], sp.i2s_buff_sifted[2], sp.i2s_buff_sifted[3]);
	sprintf(ps_buffer, "ps[0]:%d\r\n",
			sp.ps_print[0]);
	sprintf(debug_buffer, "%s%s%s%s%s\r\n",
			acc_buffer, gyro_buffer, adc_buffer, i2s_buffer, ps_buffer);
	HAL_UART_Transmit_DMA(huart, debug_buffer, 2048);
}
/* USER CODE END 4 */

void StartADCTask(void const * argument)
{
  /* USER CODE BEGIN 5 */
  /* Infinite loop */
  for(;;)
  {
	adc_update(&hadc2);
	osDelay(10);
  }
  /* USER CODE END 5 */
}

 /**
  * @brief  Period elapsed callback in non blocking mode
  * @note   This function is called  when TIM1 interrupt took place, inside
  * HAL_TIM_IRQHandler(). It makes a direct call to HAL_IncTick() to increment
  * a global variable "uwTick" used as application time base.
  * @param  htim : TIM handle
  * @retval None
  */
void HAL_TIM_PeriodElapsedCallback(TIM_HandleTypeDef *htim)
{
  if (htim->Instance == TIM1) {
    HAL_IncTick();
  }
}

void Error_Handler(void)
{
  __disable_irq();
  while (1)
  {
  }
}

/************************ (C) COPYRIGHT STMicroelectronics *****END OF FILE****/
